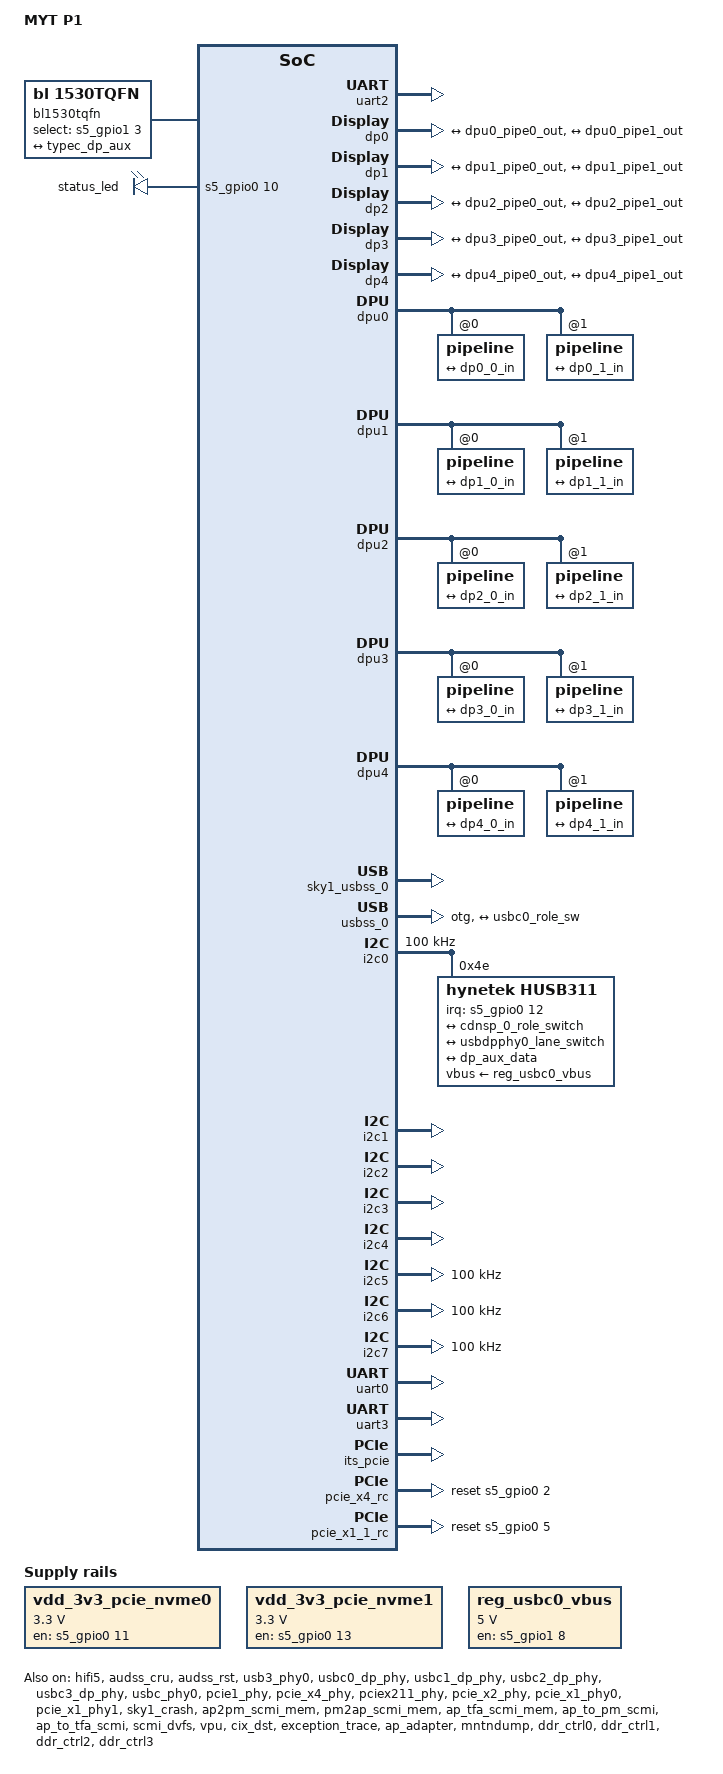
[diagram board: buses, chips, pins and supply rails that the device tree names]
/*
 * Copyright 2024 Cix Technology Group Co., Ltd.
 * Copyright (c) 2024, Radxa Computer (Shenzhen) Co., Ltd. All rights reserved.
 *
 * SPDX-License-Identifier: BSD-3-Clause
 */

/dts-v1/;

#include "dt-bindings/usb/pd.h"
#include "sky1.dtsi"
/delete-node/ &reg_definition;

/* ---- 6.6 moved these cache-exception monitors out of sky1.dtsi ---- */
/ {
	dsu_cache_exception: dsu_cache_exception {
		compatible = "cix,sky1_exception_dsu_cache";
		interrupts = <GIC_SPI 0 IRQ_TYPE_LEVEL_HIGH>,
			<GIC_SPI 1 IRQ_TYPE_LEVEL_HIGH>;
		interrupt-names = "dsu_errirq", "dsu_faultirq";
		status = "disabled";
	};

	cache_exception_core0: cache_exception_core0 {
		compatible = "cix,sky1_exception_core_cache";
		cpu = <&CPU0>;
		has-complex;
		interrupts = <GIC_SPI 3 IRQ_TYPE_LEVEL_HIGH>,
			<GIC_SPI 7 IRQ_TYPE_LEVEL_HIGH>,
			<GIC_SPI 11 IRQ_TYPE_LEVEL_HIGH>,
			<GIC_SPI 23 IRQ_TYPE_LEVEL_HIGH>;
		interrupt-names = "complex_errirq", "complex_faultirq",
						"core_errirq", "core_faultirq";
		interrupt-parent = <&gic>;
		status = "disabled";
	};

	cache_exception_core1: cache_exception_core1 {
		compatible = "cix,sky1_exception_core_cache";
		cpu = <&CPU1>;
		has-complex;
		interrupts = <GIC_SPI 4 IRQ_TYPE_LEVEL_HIGH>,
			<GIC_SPI 8 IRQ_TYPE_LEVEL_HIGH>,
			<GIC_SPI 12 IRQ_TYPE_LEVEL_HIGH>,
			<GIC_SPI 24 IRQ_TYPE_LEVEL_HIGH>;
		interrupt-names = "complex_errirq", "complex_faultirq",
						"core_errirq", "core_faultirq";
		interrupt-parent = <&gic>;
		status = "disabled";
	};

	cache_exception_core2: cache_exception_core2 {
		compatible = "cix,sky1_exception_core_cache";
		cpu = <&CPU2>;
		has-complex;
		interrupts = <GIC_SPI 5 IRQ_TYPE_LEVEL_HIGH>,
			<GIC_SPI 9 IRQ_TYPE_LEVEL_HIGH>,
			<GIC_SPI 13 IRQ_TYPE_LEVEL_HIGH>,
			<GIC_SPI 25 IRQ_TYPE_LEVEL_HIGH>;
		interrupt-names = "complex_errirq", "complex_faultirq",
						"core_errirq", "core_faultirq";
		interrupt-parent = <&gic>;
		status = "disabled";
	};

	cache_exception_core3: cache_exception_core3 {
		compatible = "cix,sky1_exception_core_cache";
		cpu = <&CPU3>;
		has-complex;
		interrupts = <GIC_SPI 6 IRQ_TYPE_LEVEL_HIGH>,
			<GIC_SPI 10 IRQ_TYPE_LEVEL_HIGH>,
			<GIC_SPI 14 IRQ_TYPE_LEVEL_HIGH>,
			<GIC_SPI 26 IRQ_TYPE_LEVEL_HIGH>;
		interrupt-names = "complex_errirq", "complex_faultirq",
						"core_errirq", "core_faultirq";
		interrupt-parent = <&gic>;
		status = "disabled";
	};

	cache_exception_core4: cache_exception_core4 {
		compatible = "cix,sky1_exception_core_cache";
		cpu = <&CPU4>;
		interrupts = <GIC_SPI 15 IRQ_TYPE_LEVEL_HIGH>,
					<GIC_SPI 27 IRQ_TYPE_LEVEL_HIGH>;
		interrupt-names = "core_errirq", "core_faultirq";
		interrupt-parent = <&gic>;
		status = "disabled";
	};

	cache_exception_core5: cache_exception_core5 {
		compatible = "cix,sky1_exception_core_cache";
		cpu = <&CPU5>;
		interrupts = <GIC_SPI 16 IRQ_TYPE_LEVEL_HIGH>,
					<GIC_SPI 28 IRQ_TYPE_LEVEL_HIGH>;
		interrupt-names = "core_errirq", "core_faultirq";
		interrupt-parent = <&gic>;
		status = "disabled";
	};

	cache_exception_core6: cache_exception_core6 {
		compatible = "cix,sky1_exception_core_cache";
		cpu = <&CPU6>;
		interrupts = <GIC_SPI 17 IRQ_TYPE_LEVEL_HIGH>,
					<GIC_SPI 29 IRQ_TYPE_LEVEL_HIGH>;
		interrupt-names = "core_errirq", "core_faultirq";
		interrupt-parent = <&gic>;
		status = "disabled";
	};

	cache_exception_core7: cache_exception_core7 {
		compatible = "cix,sky1_exception_core_cache";
		cpu = <&CPU7>;
		interrupts = <GIC_SPI 18 IRQ_TYPE_LEVEL_HIGH>,
					<GIC_SPI 30 IRQ_TYPE_LEVEL_HIGH>;
		interrupt-names = "core_errirq", "core_faultirq";
		interrupt-parent = <&gic>;
		status = "disabled";
	};

	cache_exception_core8: cache_exception_core8 {
		compatible = "cix,sky1_exception_core_cache";
		cpu = <&CPU8>;
		interrupts = <GIC_SPI 19 IRQ_TYPE_LEVEL_HIGH>,
					<GIC_SPI 31 IRQ_TYPE_LEVEL_HIGH>;
		interrupt-names = "core_errirq", "core_faultirq";
		interrupt-parent = <&gic>;
		status = "disabled";
	};

	cache_exception_core9: cache_exception_core9 {
		compatible = "cix,sky1_exception_core_cache";
		cpu = <&CPU9>;
		interrupts = <GIC_SPI 20 IRQ_TYPE_LEVEL_HIGH>,
					<GIC_SPI 32 IRQ_TYPE_LEVEL_HIGH>;
		interrupt-names = "core_errirq", "core_faultirq";
		interrupt-parent = <&gic>;
		status = "disabled";
	};

	cache_exception_core10: cache_exception_core10 {
		compatible = "cix,sky1_exception_core_cache";
		cpu = <&CPU10>;
		interrupts = <GIC_SPI 21 IRQ_TYPE_LEVEL_HIGH>,
					<GIC_SPI 33 IRQ_TYPE_LEVEL_HIGH>;
		interrupt-names = "core_errirq", "core_faultirq";
		interrupt-parent = <&gic>;
		status = "disabled";
	};

	cache_exception_core11: cache_exception_core11 {
		compatible = "cix,sky1_exception_core_cache";
		cpu = <&CPU11>;
		interrupts = <GIC_SPI 22 IRQ_TYPE_LEVEL_HIGH>,
					<GIC_SPI 34 IRQ_TYPE_LEVEL_HIGH>;
		interrupt-names = "core_errirq", "core_faultirq";
		interrupt-parent = <&gic>;
		status = "disabled";
	};
};
/ {
	model = "MYT P1";
	compatible = "cix,sky1-edgeServer";

	chosen {
		stdout-path = &uart2;
	};

	vdd_3v3_pcie_nvme0: regulator-vdd-3v3-pcie0 {
		compatible = "regulator-fixed";
		regulator-name = "VDD_3V3_PCIE0";
		pinctrl-names = "default";
		pinctrl-0 = <&pinctrl_pcie_x8_pwr>;
		regulator-min-microvolt = <3300000>;
		regulator-max-microvolt = <3300000>;
		gpio = <&s5_gpio0 11 GPIO_ACTIVE_HIGH>;
		regulator-pull-down;
		enable-active-high;
		off-on-delay-us=<15000>;
	};

	vdd_3v3_pcie_nvme1: regulator-vdd-3v3-pcie1 {
		compatible = "regulator-fixed";
		regulator-name = "VDD_3V3_PCIE1";
		pinctrl-names = "default";
		pinctrl-0 = <&pinctrl_pcie_x4_pwr>;
		regulator-min-microvolt = <3300000>;
		regulator-max-microvolt = <3300000>;
		gpio = <&s5_gpio0 13 GPIO_ACTIVE_HIGH>;
		regulator-pull-down;
		enable-active-high;
		off-on-delay-us=<15000>;
	};

	reg_usbc0_vbus: regulator-usb-c0 {
		compatible = "regulator-fixed";
		enable-active-high;
		gpio = <&s5_gpio1 8 GPIO_ACTIVE_HIGH>;
		pinctrl-names = "default";
		pinctrl-0 = <&pinctrl_reg_usbc0_vbus>;
		regulator-max-microvolt = <5000000>;
		regulator-min-microvolt = <5000000>;
		regulator-name = "USB_C0_EN";
	};

	bl1530tqfn {
		compatible = "bl,1530tqfn", "gpio-sbu-mux";
		pinctrl-names = "default";
		pinctrl-0 = <&pinctrl_dp_aux_mux>;
		select-gpios = <&s5_gpio1 3 GPIO_ACTIVE_HIGH>;
		orientation-switch;

		port {
			dp_aux_data: endpoint {
				remote-endpoint = <&typec_dp_aux>;
			};
		};
	};

	leds: gpio-leds {
		compatible = "gpio-leds";
		pinctrl-names = "default";
		pinctrl-0 = <&pinctrl_word_led_h>;

		status_led: led-0 {
			gpios = <&s5_gpio0 10 GPIO_ACTIVE_HIGH>;
			label = "status_led";
			linux,default-trigger = "heartbeat";
		};
	};
};

&fch_gpio0 {
	status = "okay";
};

&fch_gpio1 {
	status = "okay";
};

&fch_gpio2 {
	status = "okay";
};

&fch_gpio3 {
	status = "okay";
};

&s5_gpio0 {
	status = "okay";
};

&s5_gpio1 {
	status = "okay";
};

&hwclock {
	status = "okay";
};

&iomuxc_s5 {
        status = "okay";

	pinctrl-names = "default";
	pinctrl-0 = <&pinctrl_hog_s5>;
	pinctrl_hog_s5: pinctrl_hog_s5 {
		sky1,pins = <
			CIX_PAD_GPIO014_FUNC_GPIO014  (PULL_UP|DS_LEVEL4) /* GPIO14 hp det */
			CIX_PAD_GPIO040_FUNC_GPIO040  (PULL_UP|DS_LEVEL4) /* GPIO40 */
		>;
	};

	pinctrl_usb0: pinctrl_usb0_oc_grp {
		sky1,pins = <
			CIX_PAD_GPIO036_FUNC_GPIO036 (PULL_UP|DS_LEVEL4)
		>;
	};
	pinctrl_usb1: pinctrl_usb1_oc_grp {
		sky1,pins = <
			CIX_PAD_GPIO037_FUNC_GPIO037 (PULL_UP|DS_LEVEL4)
		>;
	};
	pinctrl_usb2: pinctrl_usb2_oc_grp {
		sky1,pins = <
			CIX_PAD_GPIO038_FUNC_GPIO038 (PULL_UP|DS_LEVEL4)
		>;
	};
	pinctrl_usb3: pinctrl_usb3_oc_grp {
		sky1,pins = <
			CIX_PAD_GPIO039_FUNC_GPIO039 (PULL_UP|DS_LEVEL4)
		>;
	};
	pinctrl_usb4: pinctrl_usb4_grp {
		sky1,pins = <
			CIX_PAD_GPIO034_FUNC_GPIO034 	     (PULL_UP|DS_LEVEL4)
			CIX_PAD_GPIO041_FUNC_USB_DRIVE_VBUS4 (PULL_DOWN|DS_LEVEL4)
		>;
	};

	pinctrl_usb5: pinctrl_usb5_grp {
		sky1,pins = <
			CIX_PAD_GPIO035_FUNC_GPIO035 	     (PULL_UP|DS_LEVEL4)
			CIX_PAD_GPIO042_FUNC_USB_DRIVE_VBUS5 (PULL_DOWN|DS_LEVEL4)
		>;
	};
	pinctrl_usb6: pinctrl_usb6_oc_grp {
		sky1,pins = <
			CIX_PAD_GPIO030_FUNC_GPIO030 (PULL_UP|DS_LEVEL4)
		>;
	};
	pinctrl_usb7: pinctrl_usb7_oc_grp {
		sky1,pins = <
			CIX_PAD_GPIO031_FUNC_GPIO031 (PULL_UP|DS_LEVEL4)
		>;
	};
	pinctrl_usb8: pinctrl_usb8_oc_grp {
		sky1,pins = <
			CIX_PAD_GPIO032_FUNC_GPIO032 (PULL_UP|DS_LEVEL4)
		>;
	};
	pinctrl_usb9: pinctrl_usb9_oc_grp {
		sky1,pins = <
			CIX_PAD_GPIO033_FUNC_GPIO033 (PULL_UP|DS_LEVEL4)
		>;
	};

	pinctrl_pcie_x8_rc: pinctrl_pcie_x8_rc {
		sky1,pins = <
			CIX_PAD_GPIO004_FUNC_GPIO004 (PULL_DOWN|DS_LEVEL4)
		>;
	};

	pinctrl_pcie_x4_rc: pinctrl_pcie_x4_rc {
		sky1,pins = <
			CIX_PAD_GPIO003_FUNC_GPIO003 (PULL_DOWN|DS_LEVEL4)
		>;
	};

	pinctrl_pcie_x2_rc: pinctrl_pcie_x2_rc {
		sky1,pins = <
			CIX_PAD_GPIO003_FUNC_GPIO003 (PULL_DOWN|DS_LEVEL4)
		>;
	};

	pinctrl_pcie_x1_1_rc: pinctrl_pcie_x1_1_rc {/*x1_1*/
		sky1,pins = <
			CIX_PAD_GPIO006_FUNC_GPIO006 (PULL_DOWN|DS_LEVEL4)
		>;
	};

	pinctrl_pcie_x1_0_rc: pinctrl_pcie_x1_0_rc {/*x1_0*/
		sky1,pins = <
			CIX_PAD_GPIO005_FUNC_GPIO005 (PULL_DOWN|DS_LEVEL4)
		>;
	};

	pinctrl_pcie_x8_pwr: pinctrl_pcie_x8_pwr {/*x8 power*/
		sky1,pins = <
			CIX_PAD_GPIO012_FUNC_GPIO012 (PULL_DOWN|DS_LEVEL4)
		>;
	};

	pinctrl_pcie_x4_pwr: pinctrl_pcie_x4_pwr {/*x4 power*/
		sky1,pins = <
			CIX_PAD_GPIO014_FUNC_GPIO014 (PULL_DOWN|DS_LEVEL4)
		>;
	};

	pinctrl_husb311_int: pinctrl-husb311-int {/* Type-C/PD IC interrupt pin */
		sky1,pins = <
			CIX_PAD_GPIO013_FUNC_GPIO013 (PULL_UP|DS_LEVEL4)
		>;
	};

	pinctrl_reg_usbc0_vbus: pinctrl-reg-usbc0-vbus {/* Type-C0 VBUS control pin */
		sky1,pins = <
			CIX_PAD_GPIO023_FUNC_GPIO023 (PULL_DOWN|DS_LEVEL4)
		>;
	};

	pinctrl_dp_aux_mux: pinctrl-dp-aux-mux {/* Type-C0 aux mux flip control pin */
		sky1,pins = <
			CIX_PAD_GPIO018_FUNC_GPIO018 (PULL_DOWN|DS_LEVEL4)
		>;
	};

	pinctrl_word_led_h: pinctrl_word_led_h {/*led*/
		sky1,pins = <
			CIX_PAD_GPIO011_FUNC_GPIO011 (PULL_UP|DS_LEVEL4)
		>;
	};
};

&iomuxc {
	status = "okay";
	pinctrl-names = "default";
	pinctrl-0 = <&pinctrl_hog>;

	pinctrl_hog: pinctrl_hog {
		sky1,pins = <
			CIX_PAD_GPIO144_FUNC_GPIO144 (PULL_DOWN|DS_LEVEL4) /* GPIO144 pdb0 */
			CIX_PAD_GPIO145_FUNC_GPIO145 (PULL_DOWN|DS_LEVEL4) /* GPIO145 pdb1 */
			CIX_PAD_GPIO146_FUNC_GPIO146 (PULL_DOWN|DS_LEVEL4) /* GPIO146 pdb2 */
			CIX_PAD_GPIO147_FUNC_GPIO147 (PULL_DOWN|DS_LEVEL4) /* GPIO147 pdb3 */
		>;
	};

	pinctrl_fch_pwm0: pinctrl_fch_pwm0 {
		sky1,pins = <
			CIX_PAD_DP2_VARY_BL_FUNC_DP2_VARY_BL (DS_LEVEL7)
		>;
	};

	pinctrl_fch_pwm1: pinctrl_fch_pwm1 {
		sky1,pins = <
			CIX_PAD_UART0_TXD_FUNC_PWM0 (PULL_DOWN|ST|DS_LEVEL7)
		>;
	};

	pinctrl_gmac0: pinctrl_gmac0 {
		sky1,pins =
		/* rfclk_25M */
		<CIX_PAD_GPIO121_FUNC_GMAC0_REFCLK_25M (ST|DS_LEVEL12)>,
		/* txc_trl */
		<CIX_PAD_GPIO122_FUNC_GMAC0_TX_CTL (ST|DS_LEVEL12)>,
		/* txd0 */
		<CIX_PAD_GPIO123_FUNC_GMAC0_TXD0 (ST|DS_LEVEL12)>,
		/* txd1 */
		<CIX_PAD_GPIO124_FUNC_GMAC0_TXD1 (ST|DS_LEVEL12)>,
		/* txd2 */
		<CIX_PAD_GPIO125_FUNC_GMAC0_TXD2 (ST|DS_LEVEL12)>,
		/* txd3 */
		<CIX_PAD_GPIO126_FUNC_GMAC0_TXD3 (ST|DS_LEVEL12)>,
		/* tx_clk */
		<CIX_PAD_GPIO127_FUNC_GMAC0_TX_CLK (ST|DS_LEVEL4)>,
		/* rx_ctl */
		<CIX_PAD_GPIO128_FUNC_GMAC0_RX_CTL (ST|DS_LEVEL4)>,

		/* rxd0 */
		<CIX_PAD_GPIO129_FUNC_GMAC0_RXD0 (ST|DS_LEVEL4)>,
		/* rxd1 */
		<CIX_PAD_GPIO130_FUNC_GMAC0_RXD1 (ST|DS_LEVEL4)>,
		/* rxd2 */
		<CIX_PAD_GPIO131_FUNC_GMAC0_RXD2 (ST|DS_LEVEL4)>,
		/* rxd3 */
		<CIX_PAD_GPIO132_FUNC_GMAC0_RXD3 (ST|DS_LEVEL4)>,
		/* rx_clk */
		<CIX_PAD_GPIO133_FUNC_GMAC0_RX_CLK (ST|DS_LEVEL4)>,
		/* mdc */
		<CIX_PAD_GPIO134_FUNC_GMAC0_MDC (ST|DS_LEVEL12)>,
		/* mdio */
		<CIX_PAD_GPIO135_FUNC_GMAC0_MDIO (ST|DS_LEVEL12)>;
	};

	pinctrl_gmac1: pinctrl_gmac1 {
		sky1,pins =
		/* rfclk_25M */
		<CIX_PAD_GPIO136_FUNC_GMAC1_REFCLK_25M (ST|DS_LEVEL12)>,
		/* txc_trl */
		<CIX_PAD_GPIO137_FUNC_GMAC1_TX_CTL (ST|DS_LEVEL12)>,
		/* txd0 */
		<CIX_PAD_GPIO138_FUNC_GMAC1_TXD0 (ST|DS_LEVEL12)>,
		/* txd1 */
		<CIX_PAD_GPIO139_FUNC_GMAC1_TXD1 (ST|DS_LEVEL12)>,
		/* txd2 */
		<CIX_PAD_GPIO140_FUNC_GMAC1_TXD2 (ST|DS_LEVEL12)>,
		/* txd3 */
		<CIX_PAD_GPIO141_FUNC_GMAC1_TXD3 (ST|DS_LEVEL12)>,
		/* tx_clk */
		<CIX_PAD_GPIO142_FUNC_GMAC1_TX_CLK (ST|DS_LEVEL12)>,
		/* rx_ctl */
		<CIX_PAD_GPIO143_FUNC_GMAC1_RX_CTL (ST|DS_LEVEL4)>,
		/* rxd0 */
		<CIX_PAD_GPIO144_FUNC_GMAC1_RXD0 (ST|DS_LEVEL4)>,
		/* rxd1 */
		<CIX_PAD_GPIO145_FUNC_GMAC1_RXD1 (ST|DS_LEVEL4)>,
		/* rxd2 */
		<CIX_PAD_GPIO146_FUNC_GMAC1_RXD2 (ST|DS_LEVEL4)>,
		/* rxd3 */
		<CIX_PAD_GPIO147_FUNC_GMAC1_RXD3 (ST|DS_LEVEL4)>,
		/* rx_clk */
		<CIX_PAD_GPIO148_FUNC_GMAC1_RX_CLK (ST|DS_LEVEL4)>,
		/* mdc */
		<CIX_PAD_GPIO149_FUNC_GMAC1_MDC (ST|DS_LEVEL12)>,
		/* mdio */
		<CIX_PAD_GPIO150_FUNC_GMAC1_MDIO (ST|DS_LEVEL12)>;
	};

	pinctrl_fch_i2c0: pinctrl_fch_i2c0 {
		sky1,pins = <
			CIX_PAD_I2C0_CLK_FUNC_I2C0_CLK (PULL_UP|DS_LEVEL7)
			CIX_PAD_I2C0_SDA_FUNC_I2C0_SDA (PULL_UP|DS_LEVEL7)
		>;
	};

	pinctrl_fch_i2c1: pinctrl_fch_i2c1 {
		sky1,pins = <
			CIX_PAD_I2C1_CLK_FUNC_I2C1_CLK (PULL_UP|DS_LEVEL7)
			CIX_PAD_I2C1_SDA_FUNC_I2C1_SDA (PULL_UP|DS_LEVEL7)
		>;
	};

	pinctrl_fch_i2c2: pinctrl_fch_i2c2 {
		sky1,pins = <
			CIX_PAD_I2C2_SCL_FUNC_I2C2_SCL (PULL_UP|ST|DS_LEVEL12)
			CIX_PAD_I2C2_SDA_FUNC_I2C2_SDA (PULL_UP|ST|DS_LEVEL12)
		>;
	};

	pinctrl_fch_i2c3: pinctrl_fch_i2c3 {
		sky1,pins = <
			CIX_PAD_I2C3_CLK_FUNC_I2C3_CLK (PULL_UP|ST|DS_LEVEL12)
			CIX_PAD_I2C3_SDA_FUNC_I2C3_SDA (PULL_UP|ST|DS_LEVEL12)
		>;
	};

	pinctrl_fch_i2c4: pinctrl_fch_i2c4 {
		sky1,pins = <
			CIX_PAD_I2C4_CLK_FUNC_I2C4_CLK (PULL_UP|DS_LEVEL7)
			CIX_PAD_I2C4_SDA_FUNC_I2C4_SDA (PULL_UP|DS_LEVEL7)
		>;
	};

	pinctrl_fch_i2c5: pinctrl_fch_i2c5 {
		sky1,pins = <
			CIX_PAD_I2C5_SCL_FUNC_I2C5_SCL (PULL_UP|DS_LEVEL7)
			CIX_PAD_I2C5_SDA_FUNC_I2C5_SDA (PULL_UP|DS_LEVEL7)
		>;
	};

	pinctrl_fch_i2c6: pinctrl_fch_i2c6 {
		sky1,pins = <
			CIX_PAD_I2C6_SCL_FUNC_I2C6_SCL (PULL_UP|DS_LEVEL7)
			CIX_PAD_I2C6_SDA_FUNC_I2C6_SDA (PULL_UP|DS_LEVEL7)
		>;
	};

	pinctrl_fch_i2c7: pinctrl_fch_i2c7 {
		sky1,pins = <
			CIX_PAD_I2C7_SCL_FUNC_I2C7_SCL (PULL_UP|DS_LEVEL7)
			CIX_PAD_I2C7_SDA_FUNC_I2C7_SDA (PULL_UP|DS_LEVEL7)
		>;
	};

	pinctrl_fch_uart0: pinctrl_fch_uart0 {
		sky1,pins = <
			CIX_PAD_UART0_TXD_FUNC_UART0_TXD (PULL_UP|ST|DS_LEVEL7)
			CIX_PAD_UART0_RXD_FUNC_UART0_RXD (PULL_UP|ST|DS_LEVEL7)
			CIX_PAD_UART0_CTS_FUNC_UART0_CTS (PULL_UP|ST|DS_LEVEL7)
			CIX_PAD_UART0_RTS_FUNC_UART0_RTS (PULL_UP|ST|DS_LEVEL7)
		>;
	};

	pinctrl_fch_uart1: pinctrl_fch_uart1 {
                sky1,pins = <
			CIX_PAD_UART1_TXD_FUNC_UART1_TXD (PULL_UP|ST|DS_LEVEL7)
			CIX_PAD_UART1_RXD_FUNC_UART1_RXD (PULL_UP|ST|DS_LEVEL7)
			CIX_PAD_UART1_CTS_FUNC_UART1_CTS (PULL_UP|ST|DS_LEVEL7)
			CIX_PAD_UART1_RTS_FUNC_UART1_RTS (PULL_UP|ST|DS_LEVEL7)
                >;
        };

        pinctrl_fch_uart2: pinctrl_fch_uart2 {
                sky1,pins = <
			CIX_PAD_UART2_TXD_FUNC_UART2_TXD (PULL_UP|DS_LEVEL7)
			CIX_PAD_UART2_RXD_FUNC_UART2_RXD (PULL_UP|DS_LEVEL7)
                >;
        };

	pinctrl_fch_uart3: pinctrl_fch_uart3 {
		sky1,pins = <
			CIX_PAD_UART3_TXD_FUNC_UART3_TXD (PULL_UP|DS_LEVEL7)
			CIX_PAD_UART3_RXD_FUNC_UART3_RXD (PULL_UP|DS_LEVEL7)
		>;
	};

};

&hifi5 {
	status = "okay";
};

&mbox_dsp2ap {
	status = "okay";
};

&mbox_ap2dsp {
	status = "okay";
};

&audss_cru {
	status = "okay";
};

&audss_clk {
	status = "okay";
};

&audss_rst {
	status = "okay";
};

&audss_dmac {
	memory-region = <&audio_alsa>;
	status = "okay";
};

&uart2 {
	pinctrl-names = "default";
	pinctrl-0 = <&pinctrl_fch_uart2>;
	clock-names = "uartclk", "apb_pclk";
	status = "okay";
};

&dp0 {
	status = "okay";

	ports {
		port@0 {
			reg = <0>;
			dp0_0_in: endpoint {
				remote-endpoint = <&dpu0_pipe0_out>;
			};
		};
		port@1 {
			reg = <1>;
			dp0_1_in: endpoint {
				remote-endpoint = <&dpu0_pipe1_out>;
			};
		};
	};
};

&dp1 {
	status = "okay";

	ports {
		port@0 {
			reg = <0>;
			dp1_0_in: endpoint {
				remote-endpoint = <&dpu1_pipe0_out>;
			};
		};
		port@1 {
			reg = <1>;
			dp1_1_in: endpoint {
				remote-endpoint = <&dpu1_pipe1_out>;
			};
		};
	};
};

&dp2 {
	status = "okay";

	ports {
		port@0 {
			reg = <0>;
			dp2_0_in: endpoint {
				remote-endpoint = <&dpu2_pipe0_out>;
			};
		};
		port@1 {
			reg = <1>;
			dp2_1_in: endpoint {
				remote-endpoint = <&dpu2_pipe1_out>;
			};
		};
	};
};

&dp3 {
	status = "okay";

	ports {
		port@0 {
			reg = <0>;
			dp3_0_in: endpoint {
				remote-endpoint = <&dpu3_pipe0_out>;
			};
		};
		port@1 {
			reg = <1>;
			dp3_1_in: endpoint {
				remote-endpoint = <&dpu3_pipe1_out>;
			};
		};
	};
};

&dp4 {
	status = "okay";

	ports {
		port@0 {
			reg = <0>;
			dp4_0_in: endpoint {
				remote-endpoint = <&dpu4_pipe0_out>;
			};
		};
		port@1 {
			reg = <1>;
			dp4_1_in: endpoint {
				remote-endpoint = <&dpu4_pipe1_out>;
			};
		};
	};
};

&dpu0 {
	status = "okay";

	aclk_freq_fixed = <800000000>;
	pipeline@0 {
		lpu_raxi_aoutstdcapb = <32>;
		lpu_raxi_boutstdcapb = <32>;
		lpu_raxi_ben = <0>;
		lpu_raxi_burstlen = <16>;
		lpu_raxi_arqos = <15>;
		lpu_raxi_ord = <0>;
		lpu_waxi_outstdcapb = <16>;
		lpu_waxi_burstlen = <16>;
		lpu_waxi_awqos = <15>;
		lpu_waxi_ord = <0>;
		lpu_l0_arcache = <3>;
		lpu_l1_arcache = <3>;
		lpu_l2_arcache = <3>;
		lpu_l3_arcache = <3>;
		lpu_lw_arcache = <3>;
		port {
			dpu0_pipe0_out: endpoint {
				remote-endpoint = <&dp0_0_in>;
			};
		};
	};

	pipeline@1 {
		port {
			dpu0_pipe1_out: endpoint {
				remote-endpoint = <&dp0_1_in>;
			};
		};
	};
};

&dpu1 {
	status = "okay";

	aclk_freq_fixed = <800000000>;
	pipeline@0 {
		lpu_raxi_aoutstdcapb = <32>;
		lpu_raxi_boutstdcapb = <32>;
		lpu_raxi_ben = <0>;
		lpu_raxi_burstlen = <16>;
		lpu_raxi_arqos = <15>;
		lpu_raxi_ord = <0>;
		lpu_waxi_outstdcapb = <16>;
		lpu_waxi_burstlen = <16>;
		lpu_waxi_awqos = <15>;
		lpu_waxi_ord = <0>;
		lpu_l0_arcache = <3>;
		lpu_l1_arcache = <3>;
		lpu_l2_arcache = <3>;
		lpu_l3_arcache = <3>;
		lpu_lw_arcache = <3>;
		port {
			dpu1_pipe0_out: endpoint {
				remote-endpoint = <&dp1_0_in>;
			};
		};
	};

	pipeline@1 {
		port {
			dpu1_pipe1_out: endpoint {
				remote-endpoint = <&dp1_1_in>;
			};
		};
	};
};

&dpu2 {
	status = "okay";

	aclk_freq_fixed = <800000000>;
	pipeline@0 {
		lpu_raxi_aoutstdcapb = <32>;
		lpu_raxi_boutstdcapb = <32>;
		lpu_raxi_ben = <0>;
		lpu_raxi_burstlen = <16>;
		lpu_raxi_arqos = <15>;
		lpu_raxi_ord = <0>;
		lpu_waxi_outstdcapb = <16>;
		lpu_waxi_burstlen = <16>;
		lpu_waxi_awqos = <15>;
		lpu_waxi_ord = <0>;
		lpu_l0_arcache = <3>;
		lpu_l1_arcache = <3>;
		lpu_l2_arcache = <3>;
		lpu_l3_arcache = <3>;
		lpu_lw_arcache = <3>;
		port {
			dpu2_pipe0_out: endpoint {
				remote-endpoint = <&dp2_0_in>;
			};
		};
	};

	pipeline@1 {
		port {
			dpu2_pipe1_out: endpoint {
				remote-endpoint = <&dp2_1_in>;
			};
		};
	};
};

&dpu3 {
	status = "okay";

	aclk_freq_fixed = <800000000>;
	pipeline@0 {
		lpu_raxi_aoutstdcapb = <32>;
		lpu_raxi_boutstdcapb = <32>;
		lpu_raxi_ben = <0>;
		lpu_raxi_burstlen = <16>;
		lpu_raxi_arqos = <15>;
		lpu_raxi_ord = <0>;
		lpu_waxi_outstdcapb = <16>;
		lpu_waxi_burstlen = <16>;
		lpu_waxi_awqos = <15>;
		lpu_waxi_ord = <0>;
		lpu_l0_arcache = <3>;
		lpu_l1_arcache = <3>;
		lpu_l2_arcache = <3>;
		lpu_l3_arcache = <3>;
		lpu_lw_arcache = <3>;
		port {
			dpu3_pipe0_out: endpoint {
				remote-endpoint = <&dp3_0_in>;
			};
		};
	};

	pipeline@1 {
		port {
			dpu3_pipe1_out: endpoint {
				remote-endpoint = <&dp3_1_in>;
			};
		};
	};
};

&dpu4 {
	status = "okay";

	aclk_freq_fixed = <800000000>;
	pipeline@0 {
		lpu_raxi_aoutstdcapb = <32>;
		lpu_raxi_boutstdcapb = <32>;
		lpu_raxi_ben = <0>;
		lpu_raxi_burstlen = <16>;
		lpu_raxi_arqos = <15>;
		lpu_raxi_ord = <0>;
		lpu_waxi_outstdcapb = <16>;
		lpu_waxi_burstlen = <16>;
		lpu_waxi_awqos = <15>;
		lpu_waxi_ord = <0>;
		lpu_l0_arcache = <3>;
		lpu_l1_arcache = <3>;
		lpu_l2_arcache = <3>;
		lpu_l3_arcache = <3>;
		lpu_lw_arcache = <3>;
		port {
			dpu4_pipe0_out: endpoint {
				remote-endpoint = <&dp4_0_in>;
			};
		};
	};

	pipeline@1 {
		port {
			dpu4_pipe1_out: endpoint {
				remote-endpoint = <&dp4_1_in>;
			};
		};
	};
};

&aeu0 {
	status = "disabled";
};

&aeu1 {
	status = "disabled";
};

&aeu2 {
	status = "disabled";
};

&aeu3 {
	status = "disabled";
};

&aeu4 {
	status = "disabled";
};

&gmac_rcsu {
	status = "disabled";
};

&macb0 {
	#address-cells = <1>;
	#size-cells = <0>;
	status = "disabled";
	pinctrl-names = "default";
	pinctrl-0 = <&pinctrl_gmac0>;
	phy-mode = "rgmii-id";
	cix,gmac-ctrl = <&gmac_rcsu>;
	phy-handle = <&mac0_phy>;
	reset-delay-us = <20000>; /* 20ms */
	reset-post-delay-us = <100000>; /* 100ms */
	reset-gpios = <&fch_gpio0 0 GPIO_ACTIVE_LOW>;
	mac0_phy: ethernet-phy@1 {
		reg = <1>;
		device_type = "ethernet-phy";
		compatible = "ethernet-phy-ieee802.3-c22";
	};
};

&macb1 {
	#address-cells = <1>;
	#size-cells = <0>;
	status = "disabled";
	pinctrl-names = "default";
	pinctrl-0 = <&pinctrl_gmac1>;
	phy-mode = "rgmii-id";
	phy-handle = <&mac1_phy>;
	reset-delay-us = <20000>; /* 20ms */
	reset-post-delay-us = <100000>; /* 100ms */
	reset-gpios = <&fch_gpio0 1 GPIO_ACTIVE_LOW>;
	mac1_phy: ethernet-phy@2 {
		reg = <2>;
		device_type = "ethernet-phy";
		compatible = "ethernet-phy-ieee802.3-c22";
	};
};

&uart2 {
	pinctrl-names = "default";
	pinctrl-0 = <&pinctrl_fch_uart2>;
	status = "okay";
};

&usb3_phy0 {
	status = "okay";
};

&usbc0_dp_phy {
	status = "okay";
};

&sky1_usbss_0 {
	sof_clk_freq = <8000000>;
	lpm_clk_freq = <32000>;
	status = "okay";
};

&usbc_phy1 {
	status = "disabled";
	default_conf = /bits/ 8 <0x03>;
};

&usb3_phy1 {
	status = "disabled";
};

&usbc1_dp_phy {
	status = "okay";
};

&sky1_usbss_1 {
	sof_clk_freq = <8000000>;
	lpm_clk_freq = <32000>;
	pinctrl-names = "default";
	pinctrl-0 = <&pinctrl_usb1>;
	oc-gpio = <&s5_gpio0 26 IRQ_TYPE_LEVEL_LOW>;
	status = "disabled";
};

&usbss_1 {
	status = "disabled";
	dr_mode = "host";
};

&usbc_phy2 {
	status = "disabled";
	default_conf = /bits/ 8 <0x03>;
};

&usb3_phy2 {
	status = "disabled";
};

&usbc2_dp_phy {
	status = "okay";
};

&sky1_usbss_2 {
	sof_clk_freq = <8000000>;
	lpm_clk_freq = <32000>;
	pinctrl-names = "default";
	pinctrl-0 = <&pinctrl_usb2>;
	oc-gpio = <&s5_gpio0 27 IRQ_TYPE_LEVEL_LOW>;
	status = "disabled";
};

&usbss_2 {
	status = "disabled";
	dr_mode = "host";
};

&usbc_phy3 {
	status = "disabled";
	default_conf = /bits/ 8 <0x03>;
};

&usb3_phy3 {
	status = "disabled";
};

&usbc3_dp_phy {
	status = "okay";
};

&sky1_usbss_3 {
	sof_clk_freq = <8000000>;
	lpm_clk_freq = <32000>;
	pinctrl-names = "default";
	pinctrl-0 = <&pinctrl_usb3>;
	oc-gpio = <&s5_gpio0 28 IRQ_TYPE_LEVEL_LOW>;
	status = "disabled";
};

&usbss_3 {
	status = "disabled";
	dr_mode = "host";
};

&usb3_phy4 {
	status = "disabled";
};

&usb3_phy4_0 {
	status = "disabled";
};

&sky1_usbss_4 {
	pinctrl-names = "default";
	pinctrl-0 = <&pinctrl_usb4>;
	sof_clk_freq = <8000000>;
	lpm_clk_freq = <32000>;
	status = "disabled";
};

&usbss_4 {
	status = "disabled";
	dr_mode = "host";
};

&usb3_phy4_1 {
	status = "disabled";
};

&sky1_usbss_5 {
	pinctrl-names = "default";
	pinctrl-0 = <&pinctrl_usb5>;
	sof_clk_freq = <8000000>;
	lpm_clk_freq = <32000>;
	status = "disabled";
};

&usbss_5 {
	status = "disabled";
	dr_mode = "host";
};

&sky1_usbhs_0 {
	pinctrl-names = "default";
	pinctrl-0 = <&pinctrl_usb6>;
	sof_clk_freq = <8000000>;
	lpm_clk_freq = <32000>;
	status = "disabled";
};

&usbhs_0 {
	status = "disabled";
	dr_mode = "host";
};

&sky1_usbhs_1 {
	pinctrl-names = "default";
	pinctrl-0 = <&pinctrl_usb7>;
	sof_clk_freq = <8000000>;
	lpm_clk_freq = <32000>;
	status = "disabled";
};

&usbhs_1 {
	status = "disabled";
	dr_mode = "host";
};

&sky1_usbhs_2 {
	pinctrl-names = "default";
	pinctrl-0 = <&pinctrl_usb8>;
	sof_clk_freq = <8000000>;
	lpm_clk_freq = <32000>;
	status = "disabled";
};

&usbhs_2 {
	status = "disabled";
	dr_mode = "host";
};

&sky1_usbhs_3 {
	pinctrl-names = "default";
	pinctrl-0 = <&pinctrl_usb9>;
	sof_clk_freq = <8000000>;
	lpm_clk_freq = <32000>;
	status = "disabled";
};

&usbhs_3 {
	status = "disabled";
	dr_mode = "host";
};

&usbss_0 {
	status = "okay";
	dr_mode = "otg";
	usb-role-switch;
	port {
		#address-cells = <1>;
		#size-cells = <0>;
		cdnsp_0_role_switch: endpoint@0 {
			reg = <0>;
			remote-endpoint = <&usbc0_role_sw>;
		};
	};
};

&usbc_phy0 {
	orientation-switch;
	svid = <0xff01>;
	status = "okay";
	default_conf = /bits/ 8 <0x03>;
	mode-switch;
	phy-status = "usb"; //add for gop,modified at startup

	port {
		#address-cells = <1>;
		#size-cells = <0>;
		usbdpphy0_lane_switch: endpoint@0 {
			reg = <0>;
			remote-endpoint = <&usbc0_phy_sw>;
		};
	};
};

&i2c0 {
	status = "okay";
	pinctrl-names = "default";
	pinctrl-0 = <&pinctrl_fch_i2c0>;
	clock-frequency = <100000>;

	husb311: tcpc@4e {
		compatible = "hynetek,husb311";
		pinctrl-names = "default";
		pinctrl-0 = <&pinctrl_husb311_int>;
		reg = <0x4e>;
		interrupt-parent = <&s5_gpio0>;
		interrupts = <12 IRQ_TYPE_LEVEL_LOW>;
		vbus-supply = <&reg_usbc0_vbus>;

		port {
			usbc0_role_sw: endpoint {
				remote-endpoint = <&cdnsp_0_role_switch>;
			};
		};

		usb_con: connector {
			compatible = "usb-c-connector";
			label = "USB-C";
			power-role = "dual";
			data-role = "dual";
			try-power-role = "sink";
			source-pdos = <PDO_FIXED(5000, 3000, PDO_FIXED_USB_COMM)>;
			sink-pdos = <PDO_FIXED(5000, 3000, PDO_FIXED_USB_COMM)
				     PDO_VAR(5000, 20000, 3000)>;
			op-sink-microwatt = <15000000>;
			self-powered;
			displayport = <&dp0>;

			altmodes {
				#address-cells = <0x01>;
				#size-cells = <0x00>;

				altmode@0 {
					reg = <0x00>;
					svid = <0xff01>;
					vdo = <0xffffffff>;
				};
			};

			ports {
				#address-cells = <1>;
				#size-cells = <0>;

				port@1 {
					reg = <1>;
					usbc0_phy_sw: endpoint {
						remote-endpoint = <&usbdpphy0_lane_switch>;
					};
				};

				port@2 {
					reg = <2>;
					typec_dp_aux: endpoint {
						remote-endpoint = <&dp_aux_data>;
					};
				};
			};
		};
	};
};

&i2c1 {
	status = "okay";
	pinctrl-names = "default";
	pinctrl-0 = <&pinctrl_fch_i2c1>;
};

&i2c2 {
	status = "okay";
	pinctrl-names = "default";
	pinctrl-0 = <&pinctrl_fch_i2c2>;
};

&i2c2_slave {
	pinctrl-names = "default";
	pinctrl-0 = <&pinctrl_fch_i2c2>;
	clock-frequency = <1000000>;
	status = "disabled";
};

&i2c3 {
	status = "okay";
	pinctrl-names = "default";
	pinctrl-0 = <&pinctrl_fch_i2c3>;
};

&i2c4 {
	status = "okay";
	pinctrl-names = "default";
	pinctrl-0 = <&pinctrl_fch_i2c4>;
};

&i2c5 {
	status = "okay";
	clock-frequency = <100000>;
	pinctrl-names = "default";
	pinctrl-0 = <&pinctrl_fch_i2c5>;
};

&i2c6 {
	status = "okay";
	clock-frequency = <100000>;
	pinctrl-names = "default";
	pinctrl-0 = <&pinctrl_fch_i2c6>;
};

&i2c7 {
	status = "okay";
	pinctrl-names = "default";
	pinctrl-0 = <&pinctrl_fch_i2c7>;
	clock-frequency = <100000>;

};

&uart0{
        status = "okay";
        pinctrl-names = "default";
        pinctrl-0 = <&pinctrl_fch_uart0>;
        dmas = <&fch_dmac 0 2>, <&fch_dmac 1 3>;
        dma-names = "tx","rx";
};

&uart1{
        status = "disabled";
        pinctrl-names = "default";
        pinctrl-0 = <&pinctrl_fch_uart1>;
        dmas = <&fch_dmac 2 4>, <&fch_dmac 3 5>;
        dma-names = "tx","rx";
};

&uart3 {
	pinctrl-names = "default";
	pinctrl-0 = <&pinctrl_fch_uart3>;
	status = "okay";
};

&aipu_res_0 {
     status = "disabled";
};

&npu {
	status = "disabled";
};

&its_pcie {
	status = "okay";
};

&smmu_pciehub{
	status = "disabled";
};

&smmu_mmhub{
	status = "okay";
};

&pcie_x8_rc {
	plat-evk;
	pinctrl-names = "default";
	pinctrl-0 = <&pinctrl_pcie_x8_rc>;
	reset-gpios = <&s5_gpio0 3 GPIO_ACTIVE_HIGH>;
	vcc-pcie-supply = <&vdd_3v3_pcie_nvme0>;
	status = "disabled";
};

&pcie_x4_rc {
	plat-evk;
	pinctrl-names = "default";
	pinctrl-0 = <&pinctrl_pcie_x4_rc>;
	reset-gpios = <&s5_gpio0 2 GPIO_ACTIVE_HIGH>;
	vcc-pcie-supply = <&vdd_3v3_pcie_nvme1>;
	status = "okay";
};

&pcie_x2_rc {
	plat-evk;
	pinctrl-names = "default";
	pinctrl-0 = <&pinctrl_pcie_x2_rc>;
	reset-gpios = <&s5_gpio0 2 GPIO_ACTIVE_HIGH>;
	status = "disabled";
};

&pcie_x1_0_rc {
	plat-evk;
	pinctrl-names = "default";
	pinctrl-0 = <&pinctrl_pcie_x1_0_rc>;
	reset-gpios = <&s5_gpio0 4 GPIO_ACTIVE_HIGH>;
	status = "disabled";
};

&pcie_x1_1_rc {
	plat-evk;
	pinctrl-names = "default";
	pinctrl-0 = <&pinctrl_pcie_x1_1_rc>;
	reset-gpios = <&s5_gpio0 5 GPIO_ACTIVE_HIGH>;
	status = "okay";
};

&pcie0_phy {
	status = "disabled";
};

&pcie_x8_phy {
	status = "disabled";
};

&pcie1_phy {
	status = "okay";
};

&pcie_x4_phy {
	status = "okay";
};

&pciex211_phy {
	status = "okay";
};

&pcie_x2_phy {
	status = "okay";
};

&pcie_x1_phy0 {
	status = "okay";
};

&pcie_x1_phy1 {
	status = "okay";
};

&mbox_ap2pm {
    status = "okay";
};

&mbox_pm2ap {
    status = "okay";
};

&mbox_se2ap {
	status = "okay";
};

&mbox_ap2se {
	status = "okay";
};

&sky1_crash {
	status = "okay";
};

&ap2pm_scmi_mem {
    status = "okay";
};

&pm2ap_scmi_mem {
    status = "okay";
};

&ap_tfa_scmi_mem {
    status = "okay";
};

&ap_to_pm_scmi {
    status = "okay";
};

&ap_to_tfa_scmi {
    status = "okay";
};

&scmi_dvfs {
    status = "okay";
};

&vpu {
	status = "okay";
};

&ramoops {
	status = "okay";
};

&watchdog {
        status = "disabled";
};

&cix_dst {
	status = "okay";
};

&exception_trace {
	status = "okay";
};

&ap_adapter {
	status = "okay";
};

&mntndump {
	status = "okay";
};

&ddr_ctrl0 {
	status = "okay";
};

&ddr_ctrl1 {
	status = "okay";
};

&ddr_ctrl2 {
	status = "okay";
};

&ddr_ctrl3 {
	status = "okay";
};

&cix_pmu_ci700 {
	status = "disabled";
};

&cix_pmu_ni700 {
	status = "disabled";
};

&cix_bus_ci700 {
	status = "disabled";
};

&cix_bus_ni700 {
	status = "disabled";
};

&dsu_cache_exception {
	status = "okay";
};

&cache_exception_core0 {
	status = "okay";
};

&cache_exception_core1 {
	status = "okay";
};

&cache_exception_core2 {
	status = "okay";
};

&cache_exception_core3 {
	status = "okay";
};

&cache_exception_core4 {
	status = "okay";
};

&cache_exception_core5 {
	status = "okay";
};

&cache_exception_core6 {
	status = "okay";
};

&cache_exception_core7 {
	status = "okay";
};

&cache_exception_core8 {
	status = "okay";
};

&cache_exception_core9 {
	status = "okay";
};

&cache_exception_core10 {
	status = "okay";
};

&cache_exception_core11 {
	status = "okay";
};
